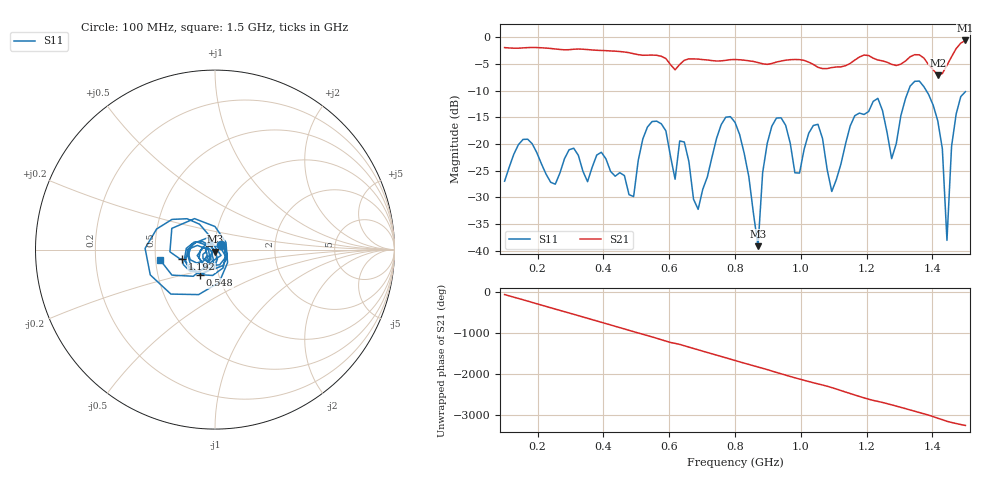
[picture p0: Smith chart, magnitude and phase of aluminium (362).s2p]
! NanoVNA-App
! Date: 2025-09-25 14:58:06
! Start: 100MHz Stop: 1,5GHz Points: 101
! S-Parameter data: F S11 S21 S12 S22
# Hz S RI R 50
!  Frequency  S11_Real  S11_Imag  S21_Real  S21_Imag  S12_Real  S12_Imag  S22_Real  S22_Imag
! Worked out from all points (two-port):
!   101 points, 100 MHz to 1.5 GHz, reference 50 ohm
!   highest |S21| = -0.58 dB at 1.5 GHz (marker M1); lowest = -7.1 dB at 1.416 GHz (marker M2)
!   |S21| within 3 dB of the highest: start of sweep to 577.3 MHz; 1.458 GHz to end of sweep (the widest 2 of 4)
!   lowest |S11| = -39.1 dB at 870 MHz (marker M3), VSWR 1.02, Z = 50.2 - j1.08 ohm
!   |S11| at or under -10 dB: start of sweep to 1.327 GHz; 1.381 GHz to end of sweep
!   S12 and S22 are empty: the file has one direction only
!   S11 on the Smith chart (normalised r, x): 100 MHz: 1.07, +0.06; 548 MHz: 0.82, -0.24; 1.192 GHz: 0.69, -0.08; 1.5 GHz: 0.53, -0.07
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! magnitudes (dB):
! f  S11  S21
! 100 MHz  -27.0  -1.9
! 156 MHz  -19.1  -2.0
! 338 MHz  -25.1  -2.2
! 492 MHz  -29.8  -3.1
! 548 MHz  -15.8  -3.3
! 576 MHz  -16.2  -3.5
! 646 MHz  -19.6  -4.3
! 688 MHz  -32.2  -4.1
! 800 MHz  -15.9  -4.1
! 870 MHz  -39.1  -4.7
! 912 MHz  -16.6  -4.9
! 996 MHz  -25.4  -4.2
! 1.038 GHz  -16.5  -5.1
! 1.094 GHz  -28.9  -5.7
! 1.192 GHz  -14.5  -3.3
! 1.234 GHz  -11.4  -4.2
! 1.276 GHz  -22.7  -5.1
! 1.346 GHz  -8.2  -3.2
! 1.416 GHz  -15.6  -7.1
! 1.444 GHz  -38.0  -5.2
! 1.458 GHz  -20.4  -3.6
! 1.5 GHz  -10.2  -0.6
